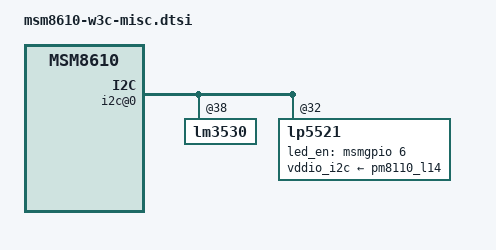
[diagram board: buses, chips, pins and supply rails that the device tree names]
/* Copyright (c) 2012, Code Aurora Forum. All rights reserved.
 *
 * This program is free software; you can redistribute it and/or modify
 * it under the terms of the GNU General Public License version 2 and
 * only version 2 as published by the Free Software Foundation.
 *
 * This program is distributed in the hope that it will be useful,
 * but WITHOUT ANY WARRANTY; without even the implied warranty of
 * MERCHANTABILITY or FITNESS FOR A PARTICULAR PURPOSE.  See the
 * GNU General Public License for more details.
 */

&soc {
	earjack-debugger {
		status = "disable";
	};

	i2c@f9924000 {
		rt8542@39 {
			status = "disable";
		};
		lm3530@38 {
			status = "disable";
		};
		lp5521@32 {
			status = "disable";
		};
	};

	i2c@0 {
		lm3530@38 {
			status = "ok";
		};
        	lp5521@32 {
            		status = "ok";
            		ti,led_en = <&msmgpio 6 0x0>;
            		ti,i2c-pull-up = <1>;
			ti,vddio_i2c-supply = <&pm8110_l14>;
			ti,vddio_i2c_supply_min = <1800000>;
			ti,vddio_i2c_supply_max = <1800000>;
			ti,vddio_i2c_load_ua = <10000>;
        	};
    };
};
